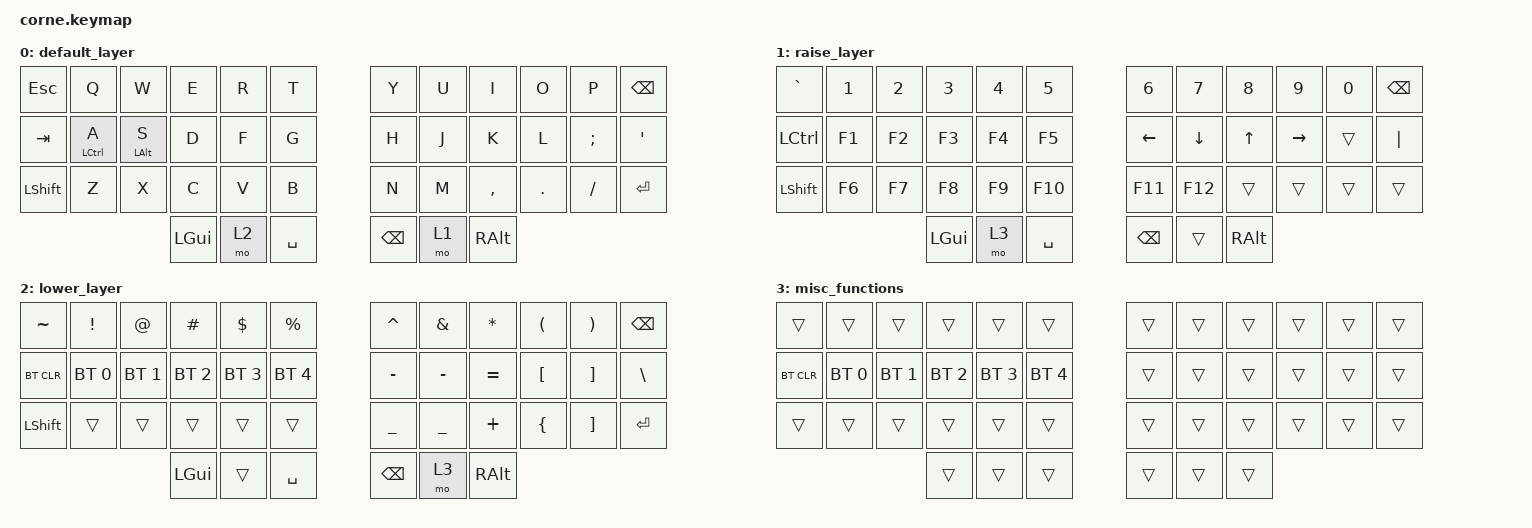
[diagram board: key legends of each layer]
/*
 * Copyright (c) 2020 The ZMK Contributors
 *
 * SPDX-License-Identifier: MIT
 */

#include <behaviors.dtsi>
#include <dt-bindings/zmk/bt.h>
#include <dt-bindings/zmk/keys.h>

/ {
    keymap {
        compatible = "zmk,keymap";

        default_layer {
            // -----------------------------------------------------------------------------------------
            // |  ESC |  Q  |  W  |  E  |  R  |  T  |   |  Y  |  U   |  I  |  O  |  P  | BKSP |
            // | TAB |  A  |  S  |  D  |  F  |  G  |   |  H  |  J   |  K  |  L  |  ;  |  '   |
            // | SHFT |  Z  |  X  |  C  |  V  |  B  |   |  N  |  M   |  ,  |  .  |  /  | ENT  |
            //                    | GUI | LWR | SPC |   | ENT | RSE  | ALT |

            bindings = <
&kp ESC    &kp Q        &kp W           &kp E     &kp R  &kp T        &kp Y          &kp U  &kp I      &kp O    &kp P     &kp BSPC
&kp TAB    &mt LCTRL A  &mt LEFT_ALT S  &kp D     &kp F  &kp G        &kp H          &kp J  &kp K      &kp L    &kp SEMI  &kp SQT
&kp LSHFT  &kp Z        &kp X           &kp C     &kp V  &kp B        &kp N          &kp M  &kp COMMA  &kp DOT  &kp FSLH  &kp ENTER
                                        &kp LGUI  &mo 2  &kp SPACE    &kp BACKSPACE  &mo 1  &kp RALT
            >;
        };

        raise_layer {
            // -----------------------------------------------------------------------------------------
            // | `    |  1  |  2  |  3  |  4  |  5  |   |  6  |  7  |  8  |  9  |  0  | BKSP |
            // | CTRL| F1  | F2  | F3  | F4  | F5  |   | LFT | DWN |  UP | RGT |     |      |
            // | SHFT |  F6 |  F7 |  F8 | F9  | F10 |   | F11 | F12 |     |     |     |      |
            //                    | GUI |     | SPC |   | ENT |     | ALT |

            bindings = <
&kp GRAVE  &kp N1  &kp N2  &kp N3    &kp N4  &kp N5       &kp N6         &kp N7    &kp N8    &kp N9     &kp N0  &kp BSPC
&kp LCTRL  &kp F1  &kp F2  &kp F3    &kp F4  &kp F5       &kp LEFT       &kp DOWN  &kp UP    &kp RIGHT  &trans  &kp PIPE
&kp LSHFT  &kp F6  &kp F7  &kp F8    &kp F9  &kp F10      &kp F11        &kp F12   &trans    &trans     &trans  &trans
                           &kp LGUI  &mo 3   &kp SPACE    &kp BACKSPACE  &trans    &kp RALT
            >;
        };

        lower_layer {
            // -----------------------------------------------------------------------------------------
            // |  ~   |  !  |  @  |  #  |  $  |  %  |   |  ^  |  &  |  *  |  (  |  )  | BKSP |
            // |BT CLR|  BT1| BT2 | BT3 | BT4 | BT5 |   |  -  |  =  |  [  |  ]  |  \  |  `   |
            // | SHFT |     |     |     |     |     |   |  _  |  +  |  {  |  }  | "|" | ENT  |
            //                    | GUI |     | SPC |   | ENT |     | ALT |

            bindings = <
&kp TILDE   &kp EXCL      &kp AT        &kp HASH      &kp DLLR      &kp PRCNT       &kp CARET      &kp AMPS        &kp ASTRK  &kp LPAR          &kp RPAR           &kp BSPC
&bt BT_CLR  &bt BT_SEL 0  &bt BT_SEL 1  &bt BT_SEL 2  &bt BT_SEL 3  &bt BT_SEL 4    &kp MINUS      &kp MINUS       &kp EQUAL  &kp LEFT_BRACKET  &kp RIGHT_BRACKET  &kp BACKSLASH
&kp LSHFT   &trans        &trans        &trans        &trans        &trans          &kp UNDER      &kp UNDERSCORE  &kp PLUS   &kp LEFT_BRACE    &kp RIGHT_BRACKET  &kp ENTER
                                        &kp LGUI      &trans        &kp SPACE       &kp BACKSPACE  &mo 3           &kp RALT
            >;
        };

        misc_functions {
            bindings = <
&trans      &trans        &trans        &trans        &trans        &trans          &trans  &trans  &trans  &trans  &trans  &trans
&bt BT_CLR  &bt BT_SEL 0  &bt BT_SEL 1  &bt BT_SEL 2  &bt BT_SEL 3  &bt BT_SEL 4    &trans  &trans  &trans  &trans  &trans  &trans
&trans      &trans        &trans        &trans        &trans        &trans          &trans  &trans  &trans  &trans  &trans  &trans
                                        &trans        &trans        &trans          &trans  &trans  &trans
            >;
        };
    };
};

/ {
    combos {
        compatible = "zmk,combos";

        combo_open_curly {
            timeout-ms = <50>;
            key-positions = <15 16>;
            bindings = <&kp LBRC>;
        };

        combo_closed_curly {
            timeout-ms = <50>;
            key-positions = <19 20>;
            bindings = <&kp RBRC>;
        };

        combo_open_square {
            timeout-ms = <50>;
            key-positions = <27 28>;
            bindings = <&kp LBKT>;
        };

        combo_closed_square {
            timeout-ms = <50>;
            key-positions = <31 32>;
            bindings = <&kp RBKT>;
        };

        combo_open_par {
            timeout-ms = <50>;
            key-positions = <15 16 37>;
            bindings = <&kp LPAR>;
        };

        combo_closed_par {
            timeout-ms = <50>;
            key-positions = <19 40 20>;
            bindings = <&kp RPAR>;
        };
    };
};
